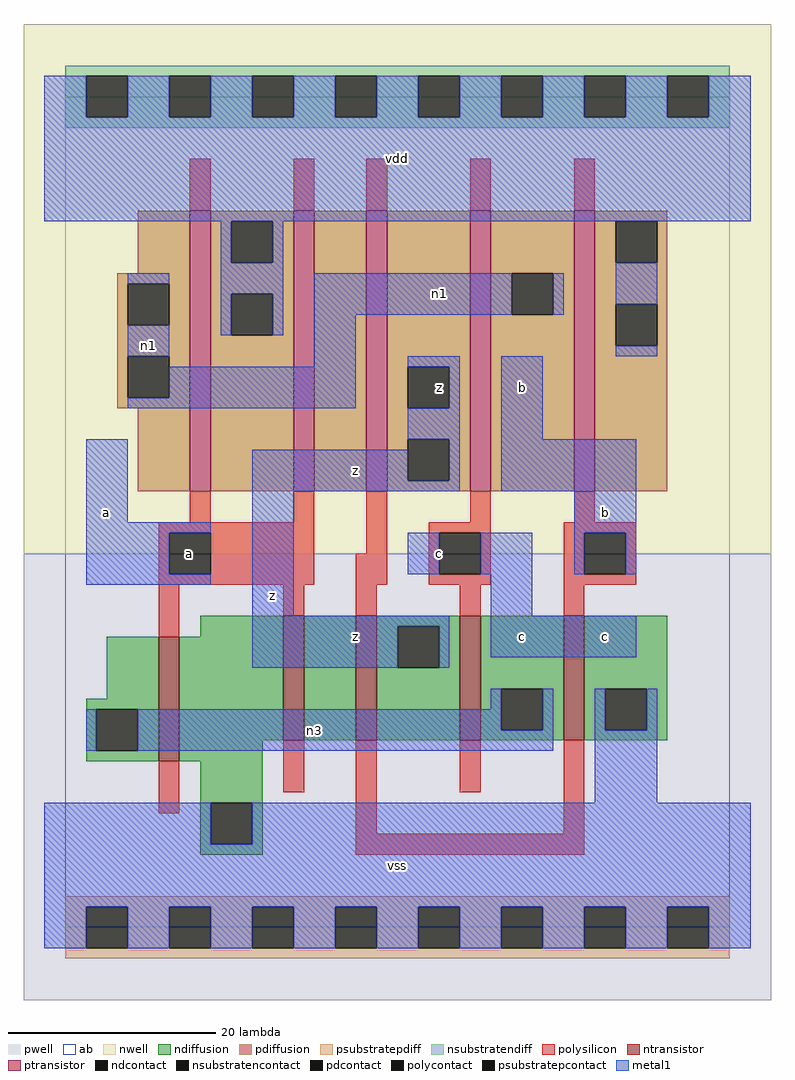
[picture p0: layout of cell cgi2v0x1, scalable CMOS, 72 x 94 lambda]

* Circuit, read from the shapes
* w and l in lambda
.subckt cgi2v0x1 a b c n1 n3 vdd vss z
M1 vss a n3 vss nfet w=12 l=2
M2 n2 a vss vss nfet w=12 l=2
M3 z b n2 vss nfet w=12 l=2
M4 n3 c z vss nfet w=12 l=2
M5 vss b n3 vss nfet w=12 l=2
M6 vdd a n1 vdd pfet w=27 l=2
M7 n4 a vdd vdd pfet w=27 l=2
M8 z b n4 vdd pfet w=27 l=2
M9 n1 c z vdd pfet w=27 l=2
M10 vdd b n1 vdd pfet w=27 l=2
.ends

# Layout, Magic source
magic
tech scmos
<< ab >>
rect 0 0 64 80
<< pwell >>
rect -4 -7 68 36
<< nwell >>
rect -4 36 68 87
<< polysilicon >>
rect 12 69 14 74
rect 22 69 24 74
rect 29 69 31 74
rect 39 69 41 74
rect 49 69 51 74
rect 12 39 14 42
rect 22 39 24 42
rect 9 38 24 39
rect 9 34 10 38
rect 14 34 24 38
rect 29 36 31 42
rect 39 39 41 42
rect 49 39 51 42
rect 9 33 24 34
rect 28 33 31 36
rect 35 38 41 39
rect 35 34 36 38
rect 40 34 41 38
rect 35 33 41 34
rect 48 38 55 39
rect 48 34 50 38
rect 54 34 55 38
rect 48 33 55 34
rect 9 28 11 33
rect 21 30 23 33
rect 28 30 30 33
rect 38 30 40 33
rect 48 30 50 33
rect 9 11 11 16
rect 21 13 23 18
rect 28 9 30 18
rect 38 13 40 18
rect 48 9 50 18
rect 28 7 50 9
<< ndiffusion >>
rect 13 28 21 30
rect 4 22 9 28
rect 2 21 9 22
rect 2 17 3 21
rect 7 17 9 21
rect 2 16 9 17
rect 11 18 21 28
rect 23 18 28 30
rect 30 29 38 30
rect 30 25 32 29
rect 36 25 38 29
rect 30 18 38 25
rect 40 23 48 30
rect 40 19 42 23
rect 46 19 48 23
rect 40 18 48 19
rect 50 23 58 30
rect 50 19 52 23
rect 56 19 58 23
rect 50 18 58 19
rect 11 16 19 18
rect 13 12 19 16
rect 13 8 14 12
rect 18 8 19 12
rect 13 7 19 8
<< pdiffusion >>
rect 7 63 12 69
rect 5 62 12 63
rect 5 58 6 62
rect 10 58 12 62
rect 5 55 12 58
rect 5 51 6 55
rect 10 51 12 55
rect 5 50 12 51
rect 7 42 12 50
rect 14 68 22 69
rect 14 64 16 68
rect 20 64 22 68
rect 14 61 22 64
rect 14 57 16 61
rect 20 57 22 61
rect 14 42 22 57
rect 24 42 29 69
rect 31 54 39 69
rect 31 50 33 54
rect 37 50 39 54
rect 31 47 39 50
rect 31 43 33 47
rect 37 43 39 47
rect 31 42 39 43
rect 41 63 49 69
rect 41 59 43 63
rect 47 59 49 63
rect 41 42 49 59
rect 51 68 58 69
rect 51 64 53 68
rect 57 64 58 68
rect 51 60 58 64
rect 51 56 53 60
rect 57 56 58 60
rect 51 42 58 56
<< metal1 >>
rect -2 78 2 82
rect 6 78 10 82
rect 14 78 18 82
rect 22 78 26 82
rect 30 78 34 82
rect 38 78 42 82
rect 46 78 50 82
rect 54 78 58 82
rect 62 78 66 82
rect -2 68 66 78
rect 15 64 16 68
rect 20 64 21 68
rect 6 62 10 63
rect 6 55 10 58
rect 15 61 21 64
rect 15 57 16 61
rect 20 57 21 61
rect 24 59 43 63
rect 47 59 48 63
rect 53 60 57 64
rect 24 54 28 59
rect 53 55 57 56
rect 10 51 28 54
rect 6 50 28 51
rect 33 54 38 55
rect 37 50 38 54
rect 33 47 38 50
rect 2 39 6 47
rect 18 43 33 46
rect 37 43 38 47
rect 18 42 38 43
rect 42 47 46 55
rect 42 42 55 47
rect 2 38 14 39
rect 2 34 10 38
rect 2 33 14 34
rect 18 30 22 42
rect 49 38 55 42
rect 33 34 36 38
rect 40 34 45 38
rect 49 34 50 38
rect 54 34 55 38
rect 41 30 45 34
rect 18 29 37 30
rect 18 25 32 29
rect 36 25 37 29
rect 41 26 55 30
rect 41 21 42 23
rect 2 17 3 21
rect 7 19 42 21
rect 46 19 47 23
rect 7 17 47 19
rect 51 19 52 23
rect 56 19 57 23
rect 51 12 57 19
rect -2 8 14 12
rect 18 8 66 12
rect -2 2 66 8
rect -2 -2 2 2
rect 6 -2 10 2
rect 14 -2 18 2
rect 22 -2 26 2
rect 30 -2 34 2
rect 38 -2 42 2
rect 46 -2 50 2
rect 54 -2 58 2
rect 62 -2 66 2
<< ntransistor >>
rect 9 16 11 28
rect 21 18 23 30
rect 28 18 30 30
rect 38 18 40 30
rect 48 18 50 30
<< ptransistor >>
rect 12 42 14 69
rect 22 42 24 69
rect 29 42 31 69
rect 39 42 41 69
rect 49 42 51 69
<< polycontact >>
rect 10 34 14 38
rect 36 34 40 38
rect 50 34 54 38
<< ndcontact >>
rect 3 17 7 21
rect 32 25 36 29
rect 42 19 46 23
rect 52 19 56 23
rect 14 8 18 12
<< pdcontact >>
rect 6 58 10 62
rect 6 51 10 55
rect 16 64 20 68
rect 16 57 20 61
rect 33 50 37 54
rect 33 43 37 47
rect 43 59 47 63
rect 53 64 57 68
rect 53 56 57 60
<< psubstratepcontact >>
rect 2 -2 6 2
rect 10 -2 14 2
rect 18 -2 22 2
rect 26 -2 30 2
rect 34 -2 38 2
rect 42 -2 46 2
rect 50 -2 54 2
rect 58 -2 62 2
<< nsubstratencontact >>
rect 2 78 6 82
rect 10 78 14 82
rect 18 78 22 82
rect 26 78 30 82
rect 34 78 38 82
rect 42 78 46 82
rect 50 78 54 82
rect 58 78 62 82
<< psubstratepdiff >>
rect 0 2 64 3
rect 0 -2 2 2
rect 6 -2 10 2
rect 14 -2 18 2
rect 22 -2 26 2
rect 30 -2 34 2
rect 38 -2 42 2
rect 46 -2 50 2
rect 54 -2 58 2
rect 62 -2 64 2
rect 0 -3 64 -2
<< nsubstratendiff >>
rect 0 82 64 83
rect 0 78 2 82
rect 6 78 10 82
rect 14 78 18 82
rect 22 78 26 82
rect 30 78 34 82
rect 38 78 42 82
rect 46 78 50 82
rect 54 78 58 82
rect 62 78 64 82
rect 0 77 64 78
<< labels >>
rlabel metal1 4 40 4 40 6 a
rlabel metal1 8 56 8 56 6 n1
rlabel metal1 20 32 20 32 6 z
rlabel polycontact 12 36 12 36 6 a
rlabel metal1 32 6 32 6 6 vss
rlabel metal1 28 28 28 28 6 z
rlabel metal1 28 44 28 44 6 z
rlabel metal1 36 36 36 36 6 c
rlabel pdcontact 36 52 36 52 6 z
rlabel metal1 32 74 32 74 6 vdd
rlabel metal1 24 19 24 19 6 n3
rlabel metal1 44 28 44 28 6 c
rlabel metal1 44 52 44 52 6 b
rlabel metal1 36 61 36 61 6 n1
rlabel metal1 52 28 52 28 6 c
rlabel metal1 52 40 52 40 6 b
<< end >>
